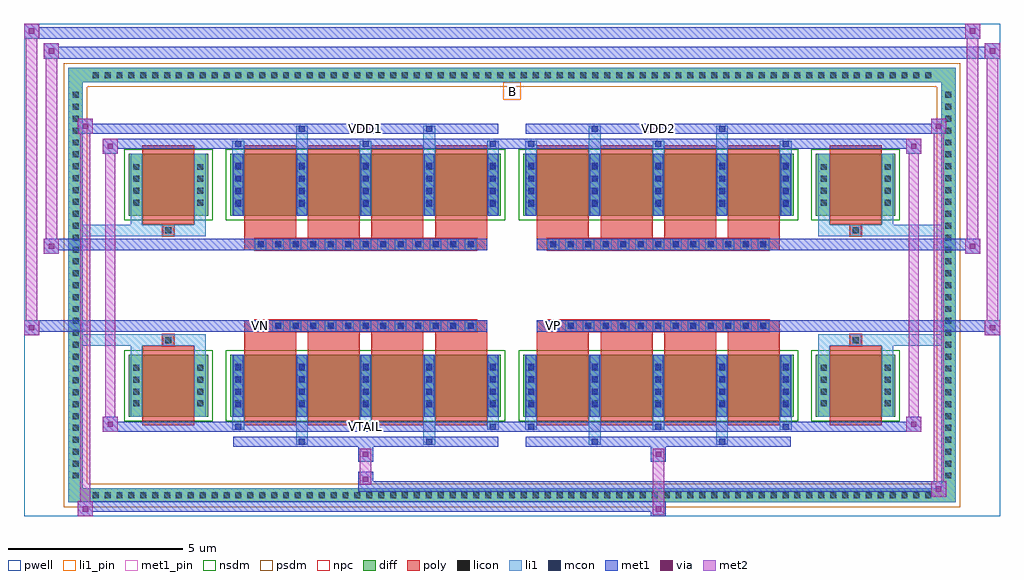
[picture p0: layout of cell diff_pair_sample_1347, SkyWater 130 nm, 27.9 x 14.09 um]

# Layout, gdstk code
import gdstk
lib = gdstk.Library(unit=1e-6, precision=5e-09)
def R(c, l, rs):  # rectangles x0, y0, x1, y1
    for r in rs: c.add(gdstk.rectangle(r[:2], r[2:], *l))
def A(c, l, x, y, w, h, nx, ny, dx, dy):  # array of equal rectangles
    R(c, l, [(x+i*dx, y+j*dy, x+i*dx+w, y+j*dy+h) for i in range(nx) for j in range(ny)])
def P(c, l, *ps):  # polygons
    for p in ps: c.add(gdstk.Polygon(p, *l))
pwell = (64, 44)
diff = (65, 20)
poly = (66, 20)
licon = (66, 44)
li1_pin = (67, 16)
li1 = (67, 20)
mcon = (67, 44)
met1_pin = (68, 16)
met1 = (68, 20)
via = (68, 44)
met2 = (69, 20)
nsdm = (93, 44)
psdm = (94, 20)
npc = (95, 20)

diff_pair_sample_1347 = lib.new_cell('diff_pair_sample_1347')
R(diff_pair_sample_1347, pwell, [(-13.95,-6.61,13.95,7.48), (-11.27,-4.8,-0.01,-0.8), (0.01,-4.8,11.27,-0.8), (-11.27,0.8,-0.01,4.8), (0.01,0.8,11.27,4.8)])
A(diff_pair_sample_1347, diff, -12.105, -6.21, 0.41, 0.41, 71, 2, 0.34, 12.01)
A(diff_pair_sample_1347, diff, -12.68, -5.645, 0.41, 0.41, 1, 33, 0, 0.34)
A(diff_pair_sample_1347, diff, 12.27, -5.645, 0.41, 0.41, 1, 33, 0, 0.34)
R(diff_pair_sample_1347, diff, [(-12.105,-6.21,12.105,-5.8), (-12.68,-5.645,-12.27,5.645), (12.27,-5.645,12.68,5.645), (-10.96,-3.755,-8.69,-1.985), (-8.05,-3.755,-0.32,-1.985), (0.32,-3.755,8.05,-1.985), (8.69,-3.755,10.96,-1.985), (-10.96,1.985,-8.69,3.755), (-8.05,1.985,-0.32,3.755), (0.32,1.985,8.05,3.755), (8.69,1.985,10.96,3.755), (-12.105,5.8,12.105,6.21)])
P(diff_pair_sample_1347, diff, [(12.68,6.21),(-12.68,6.21),(-12.68,-5.8),(-12.27,-5.8),(-12.27,5.8),(12.27,5.8),(12.27,-5.8),(-12.27,-5.8),(-12.68,-5.8),(-12.68,-6.21),(12.68,-6.21)])
A(diff_pair_sample_1347, poly, -7.66, -4.005, 1.49, 2.27, 4, 2, 1.82, 5.74)
A(diff_pair_sample_1347, poly, 0.71, -4.005, 1.49, 2.27, 4, 2, 1.82, 5.74)
A(diff_pair_sample_1347, poly, -7.66, -1.735, 1.49, 0.405, 4, 2, 1.82, 3.065)
A(diff_pair_sample_1347, poly, 0.71, -1.735, 1.49, 0.405, 4, 2, 1.82, 3.065)
A(diff_pair_sample_1347, poly, -7.35, -1.33, 0.33, 0.33, 13, 2, 0.5, 2.33)
A(diff_pair_sample_1347, poly, 1.02, -1.33, 0.33, 0.33, 13, 2, 0.5, 2.33)
R(diff_pair_sample_1347, poly, [(-10.57,-4.005,-9.08,-1.735), (9.08,-4.005,10.57,-1.735), (-9.99,-1.735,-9.66,-1.405), (-9.99,-1.735,-9.66,-1.405), (9.66,-1.735,9.99,-1.405), (9.66,-1.735,9.99,-1.405), (-7.66,-1.33,-0.71,-1), (0.71,-1.33,7.66,-1), (-7.66,1,-0.71,1.33), (0.71,1,7.66,1.33), (-9.99,1.405,-9.66,1.735), (-9.99,1.405,-9.66,1.735), (9.66,1.405,9.99,1.735), (9.66,1.405,9.99,1.735), (-10.57,1.735,-9.08,4.005), (9.08,1.735,10.57,4.005)])
A(diff_pair_sample_1347, licon, -11.985, -6.09, 0.17, 0.17, 71, 2, 0.34, 12.01)
A(diff_pair_sample_1347, licon, -12.56, -5.525, 0.17, 0.17, 1, 33, 0, 0.34)
A(diff_pair_sample_1347, licon, 12.39, -5.525, 0.17, 0.17, 1, 33, 0, 0.34)
A(diff_pair_sample_1347, licon, -10.82, -3.465, 0.17, 0.17, 1, 4, 0, 0.34)
A(diff_pair_sample_1347, licon, -9, -3.465, 0.17, 0.17, 1, 4, 0, 0.34)
A(diff_pair_sample_1347, licon, -7.91, -3.465, 0.17, 0.17, 5, 4, 1.82, 0.34)
A(diff_pair_sample_1347, licon, 0.46, -3.465, 0.17, 0.17, 5, 4, 1.82, 0.34)
A(diff_pair_sample_1347, licon, 8.83, -3.465, 0.17, 0.17, 1, 4, 0, 0.34)
A(diff_pair_sample_1347, licon, 10.65, -3.465, 0.17, 0.17, 1, 4, 0, 0.34)
A(diff_pair_sample_1347, licon, -7.27, -1.25, 0.17, 0.17, 13, 2, 0.5, 2.33)
A(diff_pair_sample_1347, licon, 1.1, -1.25, 0.17, 0.17, 13, 2, 0.5, 2.33)
A(diff_pair_sample_1347, licon, -10.82, 2.275, 0.17, 0.17, 1, 4, 0, 0.34)
A(diff_pair_sample_1347, licon, -9, 2.275, 0.17, 0.17, 1, 4, 0, 0.34)
A(diff_pair_sample_1347, licon, -7.91, 2.275, 0.17, 0.17, 5, 4, 1.82, 0.34)
A(diff_pair_sample_1347, licon, 0.46, 2.275, 0.17, 0.17, 5, 4, 1.82, 0.34)
A(diff_pair_sample_1347, licon, 8.83, 2.275, 0.17, 0.17, 1, 4, 0, 0.34)
A(diff_pair_sample_1347, licon, 10.65, 2.275, 0.17, 0.17, 1, 4, 0, 0.34)
R(diff_pair_sample_1347, licon, [(-9.91,-1.655,-9.74,-1.485), (9.74,-1.655,9.91,-1.485), (-9.91,1.485,-9.74,1.655), (9.74,1.485,9.91,1.655)])
R(diff_pair_sample_1347, li1_pin, [(-0.25,5.3,0.25,5.8)])
A(diff_pair_sample_1347, li1, -12.065, -6.17, 0.33, 0.33, 71, 2, 0.34, 12.01)
A(diff_pair_sample_1347, li1, -12.64, -5.605, 0.33, 0.33, 1, 33, 0, 0.34)
A(diff_pair_sample_1347, li1, 12.31, -5.605, 0.33, 0.33, 1, 33, 0, 0.34)
A(diff_pair_sample_1347, li1, -7.99, -4.13, 0.33, 0.375, 3, 2, 3.64, 7.885)
A(diff_pair_sample_1347, li1, -7.91, -4.13, 0.17, 0.17, 3, 2, 3.64, 8.09)
A(diff_pair_sample_1347, li1, 0.38, -4.13, 0.33, 0.375, 3, 2, 3.64, 7.885)
A(diff_pair_sample_1347, li1, 0.46, -4.13, 0.17, 0.17, 3, 2, 3.64, 8.09)
A(diff_pair_sample_1347, li1, -7.99, -3.755, 0.33, 1.77, 5, 2, 1.82, 5.74)
A(diff_pair_sample_1347, li1, 0.38, -3.755, 0.33, 1.77, 5, 2, 1.82, 5.74)
A(diff_pair_sample_1347, li1, -10.9, -3.545, 0.33, 0.33, 1, 4, 0, 0.34)
A(diff_pair_sample_1347, li1, -9.08, -3.545, 0.33, 0.33, 1, 4, 0, 0.34)
A(diff_pair_sample_1347, li1, -7.99, -3.545, 0.33, 0.33, 5, 4, 1.82, 0.34)
A(diff_pair_sample_1347, li1, 0.38, -3.545, 0.33, 0.33, 5, 4, 1.82, 0.34)
A(diff_pair_sample_1347, li1, 8.75, -3.545, 0.33, 0.33, 1, 4, 0, 0.34)
A(diff_pair_sample_1347, li1, 10.57, -3.545, 0.33, 0.33, 1, 4, 0, 0.34)
A(diff_pair_sample_1347, li1, -7.91, -3.495, 0.17, 0.17, 5, 4, 1.82, 0.36)
A(diff_pair_sample_1347, li1, -7.91, -3.495, 0.17, 1.25, 5, 2, 1.82, 5.74)
A(diff_pair_sample_1347, li1, 0.46, -3.495, 0.17, 0.17, 5, 4, 1.82, 0.36)
A(diff_pair_sample_1347, li1, 0.46, -3.495, 0.17, 1.25, 5, 2, 1.82, 5.74)
A(diff_pair_sample_1347, li1, -7.35, -1.33, 0.33, 0.33, 13, 2, 0.5, 2.33)
A(diff_pair_sample_1347, li1, 1.02, -1.33, 0.33, 0.33, 13, 2, 0.5, 2.33)
A(diff_pair_sample_1347, li1, -10.9, 2.195, 0.33, 0.33, 1, 4, 0, 0.34)
A(diff_pair_sample_1347, li1, -9.08, 2.195, 0.33, 0.33, 1, 4, 0, 0.34)
A(diff_pair_sample_1347, li1, -7.99, 2.195, 0.33, 0.33, 5, 4, 1.82, 0.34)
A(diff_pair_sample_1347, li1, 0.38, 2.195, 0.33, 0.33, 5, 4, 1.82, 0.34)
A(diff_pair_sample_1347, li1, 8.75, 2.195, 0.33, 0.33, 1, 4, 0, 0.34)
A(diff_pair_sample_1347, li1, 10.57, 2.195, 0.33, 0.33, 1, 4, 0, 0.34)
A(diff_pair_sample_1347, li1, -7.91, 2.245, 0.17, 0.17, 5, 4, 1.82, 0.36)
A(diff_pair_sample_1347, li1, 0.46, 2.245, 0.17, 0.17, 5, 4, 1.82, 0.36)
R(diff_pair_sample_1347, li1, [(-12.68,-6.21,-12.27,-5.8), (-12.68,-6.21,-12.27,-5.8), (-12.27,-6.21,12.27,-5.8), (12.27,-6.21,12.68,-5.8), (12.27,-6.21,12.68,-5.8), (-12.68,-5.8,-12.27,5.8), (12.27,-5.8,12.68,5.8), (-6.17,-4.56,-5.84,-3.755), (-6.09,-4.56,-5.92,-4.39), (-2.53,-4.56,-2.2,-3.755), (-2.45,-4.56,-2.28,-4.39), (2.2,-4.56,2.53,-3.755), (2.28,-4.56,2.45,-4.39), (5.84,-4.56,6.17,-3.755), (5.92,-4.56,6.09,-4.39), (-10.9,-3.755,-10.57,-1.985), (-9.08,-3.755,-8.75,-1.985), (8.75,-3.755,9.08,-1.985), (10.57,-3.755,10.9,-1.985), (-10.9,-1.985,-10.57,-1.405), (-9.08,-1.985,-8.75,-1.405), (8.75,-1.985,9.08,-1.405), (10.57,-1.985,10.9,-1.405), (-12.68,-1.735,-9.99,-1.405), (-10.9,-1.735,-9.99,-1.405), (-9.99,-1.735,-9.66,-1.405), (-9.66,-1.735,-8.75,-1.405), (8.75,-1.735,9.66,-1.405), (9.66,-1.735,9.99,-1.405), (9.66,-1.735,12.68,-1.405), (9.99,-1.735,10.9,-1.405), (-12.68,1.405,-9.99,1.735), (-10.9,1.405,-9.99,1.735), (-10.9,1.405,-10.57,1.985), (-9.99,1.405,-9.66,1.735), (-9.66,1.405,-8.75,1.735), (-9.08,1.405,-8.75,1.985), (8.75,1.405,9.66,1.735), (8.75,1.405,9.08,1.985), (9.66,1.405,9.99,1.735), (9.66,1.405,12.68,1.735), (9.99,1.405,10.9,1.735), (10.57,1.405,10.9,1.985), (-10.9,1.985,-10.57,3.755), (-9.08,1.985,-8.75,3.755), (8.75,1.985,9.08,3.755), (10.57,1.985,10.9,3.755), (-6.17,3.755,-5.84,4.56), (-2.53,3.755,-2.2,4.56), (2.2,3.755,2.53,4.56), (5.84,3.755,6.17,4.56), (-6.09,4.39,-5.92,4.56), (-2.45,4.39,-2.28,4.56), (2.28,4.39,2.45,4.56), (5.92,4.39,6.09,4.56), (-12.68,5.8,-12.27,6.21), (-12.68,5.8,-12.27,6.21), (-12.27,5.8,12.27,6.21), (12.27,5.8,12.68,6.21), (12.27,5.8,12.68,6.21)])
A(diff_pair_sample_1347, mcon, -7.91, -4.13, 0.17, 0.17, 3, 2, 3.64, 8.09)
A(diff_pair_sample_1347, mcon, 0.46, -4.13, 0.17, 0.17, 3, 2, 3.64, 8.09)
A(diff_pair_sample_1347, mcon, -7.91, -3.495, 0.17, 0.17, 5, 4, 1.82, 0.36)
A(diff_pair_sample_1347, mcon, 0.46, -3.495, 0.17, 0.17, 5, 4, 1.82, 0.36)
A(diff_pair_sample_1347, mcon, -7.27, -1.25, 0.17, 0.17, 13, 2, 0.5, 2.33)
A(diff_pair_sample_1347, mcon, 1.1, -1.25, 0.17, 0.17, 13, 2, 0.5, 2.33)
A(diff_pair_sample_1347, mcon, -7.91, 2.245, 0.17, 0.17, 5, 4, 1.82, 0.36)
A(diff_pair_sample_1347, mcon, 0.46, 2.245, 0.17, 0.17, 5, 4, 1.82, 0.36)
R(diff_pair_sample_1347, mcon, [(-6.09,-4.56,-5.92,-4.39), (-2.45,-4.56,-2.28,-4.39), (2.28,-4.56,2.45,-4.39), (5.92,-4.56,6.09,-4.39), (-6.09,4.39,-5.92,4.56), (-2.45,4.39,-2.28,4.56), (2.28,4.39,2.45,4.56), (5.92,4.39,6.09,4.56)])
R(diff_pair_sample_1347, met1_pin, [(-4.32,-4.17,-4.05,-3.9), (-7.32,-1.29,-7.05,-1.02), (1.05,-1.29,1.32,-1.02), (-4.32,4.35,-4.05,4.62), (4.05,4.35,4.32,4.62)])
A(diff_pair_sample_1347, met1, -7.97, -4.19, 0.29, 0.29, 3, 2, 3.64, 8.09)
A(diff_pair_sample_1347, met1, 0.4, -4.19, 0.29, 0.29, 3, 2, 3.64, 8.09)
A(diff_pair_sample_1347, met1, -7.97, -3.755, 0.29, 1.77, 5, 2, 1.82, 5.74)
A(diff_pair_sample_1347, met1, 0.4, -3.755, 0.29, 1.77, 5, 2, 1.82, 5.74)
A(diff_pair_sample_1347, met1, -7.97, -3.555, 0.29, 0.29, 5, 4, 1.82, 0.36)
A(diff_pair_sample_1347, met1, 0.4, -3.555, 0.29, 0.29, 5, 4, 1.82, 0.36)
A(diff_pair_sample_1347, met1, -7.33, -1.31, 0.29, 0.29, 13, 2, 0.5, 2.33)
A(diff_pair_sample_1347, met1, 1.04, -1.31, 0.29, 0.29, 13, 2, 0.5, 2.33)
A(diff_pair_sample_1347, met1, -7.97, 2.185, 0.29, 0.29, 5, 4, 1.82, 0.36)
A(diff_pair_sample_1347, met1, 0.4, 2.185, 0.29, 0.29, 5, 4, 1.82, 0.36)
R(diff_pair_sample_1347, met1, [(-12.41,-6.61,-11.98,-6.18), (3.97,-6.61,4.4,-6.18), (-12.41,-6.47,4.4,-6.18), (11.98,-6.04,12.41,-5.61), (-4.4,-5.9,12.41,-5.61), (-4.4,-5.76,-3.97,-5.33), (-4.4,-5.05,-3.97,-4.62), (3.97,-5.05,4.4,-4.62), (-7.97,-4.62,-0.4,-4.33), (-6.15,-4.62,-5.86,-4.33), (-2.51,-4.62,-2.22,-4.33), (0.4,-4.62,7.97,-4.33), (2.22,-4.62,2.51,-4.33), (5.86,-4.62,6.15,-4.33), (-11.7,-4.19,-11.27,-3.76), (-11.7,-4.19,-7.97,-3.9), (-7.97,-4.19,-0.4,-3.9), (-0.4,-4.19,0.4,-3.9), (0.4,-4.19,7.97,-3.9), (7.97,-4.19,11.7,-3.9), (11.27,-4.19,11.7,-3.76), (-13.95,-1.43,-13.52,-1), (13.52,-1.43,13.95,-1), (-13.95,-1.33,-0.71,-1), (-7.66,-1.33,-0.71,-1), (0.71,-1.33,7.66,-1), (0.71,-1.33,13.95,-1), (-13.38,0.9,-12.95,1.33), (12.95,0.9,13.38,1.33), (-13.38,1,-7.66,1.33), (-7.66,1,-0.71,1.33), (0.71,1,7.66,1.33), (7.66,1,13.38,1.33), (-11.7,3.76,-11.27,4.19), (11.27,3.76,11.7,4.19), (-11.7,3.9,-7.97,4.19), (-7.97,3.9,-0.4,4.19), (-0.4,3.9,0.4,4.19), (0.4,3.9,7.97,4.19), (7.97,3.9,11.7,4.19), (-12.41,4.33,-11.98,4.76), (-12.41,4.33,-7.97,4.62), (-7.97,4.33,-0.4,4.62), (-6.15,4.33,-5.86,4.62), (-2.51,4.33,-2.22,4.62), (0.4,4.33,7.97,4.62), (2.22,4.33,2.51,4.62), (5.86,4.33,6.15,4.62), (7.97,4.33,12.41,4.62), (11.98,4.33,12.41,4.76), (-13.38,6.48,-12.95,6.91), (-13.38,6.48,-11.27,6.81), (-11.27,6.48,11.27,6.81), (11.27,6.48,13.95,6.81), (13.52,6.48,13.95,6.91), (-13.95,7.05,-13.52,7.48), (-13.95,7.05,-11.27,7.38), (-11.27,7.05,11.27,7.38), (11.27,7.05,13.38,7.38), (12.95,7.05,13.38,7.48)])
R(diff_pair_sample_1347, via, [(-12.27,-6.47,-12.12,-6.32), (4.11,-6.47,4.26,-6.32), (12.12,-5.9,12.27,-5.75), (-4.26,-5.62,-4.11,-5.47), (-4.26,-4.91,-4.11,-4.76), (4.11,-4.91,4.26,-4.76), (-11.56,-4.05,-11.41,-3.9), (11.41,-4.05,11.56,-3.9), (-13.81,-1.29,-13.66,-1.14), (13.66,-1.29,13.81,-1.14), (-13.24,1.04,-13.09,1.19), (13.09,1.04,13.24,1.19), (-11.56,3.9,-11.41,4.05), (11.41,3.9,11.56,4.05), (-12.27,4.47,-12.12,4.62), (12.12,4.47,12.27,4.62), (-13.24,6.62,-13.09,6.77), (13.66,6.62,13.81,6.77), (-13.81,7.19,-13.66,7.34), (13.09,7.19,13.24,7.34)])
R(diff_pair_sample_1347, met2, [(-12.41,-6.61,-11.98,-6.18), (-12.34,-6.61,-12.05,4.76), (-12.05,-6.61,-11.98,-6.18), (-12.36,-6.56,-12.03,-6.23), (4.02,-6.56,4.35,-6.23), (4.02,-6.23,4.35,-5), (11.98,-6.04,12.41,-5.61), (12.05,-6.04,12.34,4.76), (12.34,-6.04,12.41,-5.61), (12.03,-5.99,12.36,-5.66), (-4.35,-5.71,-4.02,-5.38), (-4.35,-5.38,-4.02,-5), (-4.35,-5,-4.02,-4.67), (4.02,-5,4.35,-4.67), (-11.7,-4.19,-11.27,-3.76), (-11.63,-4.19,-11.34,4.19), (-11.34,-4.19,-11.27,-3.76), (11.27,-4.19,11.7,-3.76), (11.34,-4.19,11.63,4.19), (11.63,-4.19,11.7,-3.76), (-11.65,-4.14,-11.32,-3.81), (11.32,-4.14,11.65,-3.81), (-13.95,-1.43,-13.52,-1), (-13.9,-1.43,-13.57,7.48), (-13.57,-1.43,-13.52,-1), (13.52,-1.43,13.95,-1), (13.57,-1.43,13.9,6.91), (13.9,-1.43,13.95,-1), (-13.9,-1.38,-13.57,-1.05), (13.57,-1.38,13.9,-1.05), (-13.38,0.9,-12.95,1.33), (-13.33,0.9,-13,6.91), (-13,0.9,-12.95,1.33), (12.95,0.9,13.38,1.33), (13,0.9,13.33,7.48), (13.33,0.9,13.38,1.33), (-13.33,0.95,-13,1.28), (13,0.95,13.33,1.28), (-11.7,3.76,-11.27,4.19), (-11.34,3.76,-11.27,4.19), (11.27,3.76,11.7,4.19), (11.63,3.76,11.7,4.19), (-11.65,3.81,-11.32,4.14), (11.32,3.81,11.65,4.14), (-12.41,4.33,-11.98,4.76), (-12.05,4.33,-11.98,4.76), (11.98,4.33,12.41,4.76), (12.34,4.33,12.41,4.76), (-12.36,4.38,-12.03,4.71), (12.03,4.38,12.36,4.71), (-13.38,6.48,-12.95,6.91), (-13,6.48,-12.95,6.91), (13.52,6.48,13.95,6.91), (13.9,6.48,13.95,6.91), (-13.33,6.53,-13,6.86), (13.57,6.53,13.9,6.86), (-13.95,7.05,-13.52,7.48), (-13.57,7.05,-13.52,7.48), (12.95,7.05,13.38,7.48), (13.33,7.05,13.38,7.48), (-13.9,7.1,-13.57,7.43), (13,7.1,13.33,7.43)])
R(diff_pair_sample_1347, nsdm, [(-11.09,-3.885,-8.56,-1.855), (-8.18,-3.885,-0.19,-1.855), (0.19,-3.885,8.18,-1.855), (8.56,-3.885,11.09,-1.855), (-11.09,1.855,-8.56,3.885), (-8.18,1.855,-0.19,3.885), (0.19,1.855,8.18,3.885), (8.56,1.855,11.09,3.885)])
P(diff_pair_sample_1347, psdm, [(12.81,6.34),(-12.81,6.34),(-12.81,-5.67),(-12.14,-5.67),(-12.14,5.67),(12.14,5.67),(12.14,-5.67),(-12.14,-5.67),(-12.81,-5.67),(-12.81,-6.34),(12.81,-6.34)])
A(diff_pair_sample_1347, npc, -7.37, -1.35, 0.37, 0.37, 13, 2, 0.5, 2.33)
A(diff_pair_sample_1347, npc, 1, -1.35, 0.37, 0.37, 13, 2, 0.5, 2.33)
R(diff_pair_sample_1347, npc, [(-10.01,-1.755,-9.64,-1.385), (9.64,-1.755,10.01,-1.385), (-7.37,-1.35,-6.5,-0.98), (-7.37,-1.35,-6.5,-0.98), (-6.87,-1.35,-6,-0.98), (-6.87,-1.35,-6,-0.98), (-6.37,-1.35,-5.5,-0.98), (-6.37,-1.35,-5.5,-0.98), (-5.87,-1.35,-5,-0.98), (-5.87,-1.35,-5,-0.98), (-5.37,-1.35,-4.5,-0.98), (-5.37,-1.35,-4.5,-0.98), (-4.87,-1.35,-4,-0.98), (-4.87,-1.35,-4,-0.98), (-4.37,-1.35,-3.5,-0.98), (-4.37,-1.35,-3.5,-0.98), (-3.87,-1.35,-3,-0.98), (-3.87,-1.35,-3,-0.98), (-3.37,-1.35,-2.5,-0.98), (-3.37,-1.35,-2.5,-0.98), (-2.87,-1.35,-2,-0.98), (-2.87,-1.35,-2,-0.98), (-2.37,-1.35,-1.5,-0.98), (-2.37,-1.35,-1.5,-0.98), (-1.87,-1.35,-1,-0.98), (-1.87,-1.35,-1,-0.98), (1,-1.35,1.87,-0.98), (1,-1.35,1.87,-0.98), (1.5,-1.35,2.37,-0.98), (1.5,-1.35,2.37,-0.98), (2,-1.35,2.87,-0.98), (2,-1.35,2.87,-0.98), (2.5,-1.35,3.37,-0.98), (2.5,-1.35,3.37,-0.98), (3,-1.35,3.87,-0.98), (3,-1.35,3.87,-0.98), (3.5,-1.35,4.37,-0.98), (3.5,-1.35,4.37,-0.98), (4,-1.35,4.87,-0.98), (4,-1.35,4.87,-0.98), (4.5,-1.35,5.37,-0.98), (4.5,-1.35,5.37,-0.98), (5,-1.35,5.87,-0.98), (5,-1.35,5.87,-0.98), (5.5,-1.35,6.37,-0.98), (5.5,-1.35,6.37,-0.98), (6,-1.35,6.87,-0.98), (6,-1.35,6.87,-0.98), (6.5,-1.35,7.37,-0.98), (6.5,-1.35,7.37,-0.98), (-7.37,0.98,-6.5,1.35), (-7.37,0.98,-6.5,1.35), (-6.87,0.98,-6,1.35), (-6.87,0.98,-6,1.35), (-6.37,0.98,-5.5,1.35), (-6.37,0.98,-5.5,1.35), (-5.87,0.98,-5,1.35), (-5.87,0.98,-5,1.35), (-5.37,0.98,-4.5,1.35), (-5.37,0.98,-4.5,1.35), (-4.87,0.98,-4,1.35), (-4.87,0.98,-4,1.35), (-4.37,0.98,-3.5,1.35), (-4.37,0.98,-3.5,1.35), (-3.87,0.98,-3,1.35), (-3.87,0.98,-3,1.35), (-3.37,0.98,-2.5,1.35), (-3.37,0.98,-2.5,1.35), (-2.87,0.98,-2,1.35), (-2.87,0.98,-2,1.35), (-2.37,0.98,-1.5,1.35), (-2.37,0.98,-1.5,1.35), (-1.87,0.98,-1,1.35), (-1.87,0.98,-1,1.35), (1,0.98,1.87,1.35), (1,0.98,1.87,1.35), (1.5,0.98,2.37,1.35), (1.5,0.98,2.37,1.35), (2,0.98,2.87,1.35), (2,0.98,2.87,1.35), (2.5,0.98,3.37,1.35), (2.5,0.98,3.37,1.35), (3,0.98,3.87,1.35), (3,0.98,3.87,1.35), (3.5,0.98,4.37,1.35), (3.5,0.98,4.37,1.35), (4,0.98,4.87,1.35), (4,0.98,4.87,1.35), (4.5,0.98,5.37,1.35), (4.5,0.98,5.37,1.35), (5,0.98,5.87,1.35), (5,0.98,5.87,1.35), (5.5,0.98,6.37,1.35), (5.5,0.98,6.37,1.35), (6,0.98,6.87,1.35), (6,0.98,6.87,1.35), (6.5,0.98,7.37,1.35), (6.5,0.98,7.37,1.35), (-10.01,1.385,-9.64,1.755), (9.64,1.385,10.01,1.755)])
diff_pair_sample_1347.add(gdstk.Label('VTAIL', (-4.185,-4.035), layer=68, texttype=5))
diff_pair_sample_1347.add(gdstk.Label('VN', (-7.185,-1.155), layer=68, texttype=5))
diff_pair_sample_1347.add(gdstk.Label('VP', (1.185,-1.155), layer=68, texttype=5))
diff_pair_sample_1347.add(gdstk.Label('B', (0,5.55), layer=67, texttype=5))
diff_pair_sample_1347.add(gdstk.Label('VDD2', (4.185,4.485), layer=68, texttype=5))
diff_pair_sample_1347.add(gdstk.Label('VDD1', (-4.185,4.485), layer=68, texttype=5))

lib.write_gds('diff_pair_sample_1347.gds')
